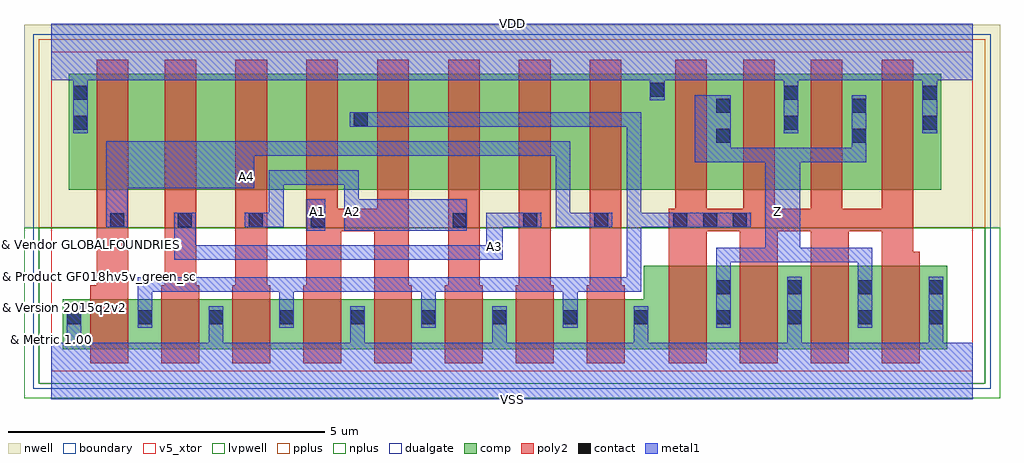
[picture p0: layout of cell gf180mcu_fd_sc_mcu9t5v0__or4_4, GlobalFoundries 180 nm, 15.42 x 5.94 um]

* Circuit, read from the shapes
.subckt gf180mcu_fd_sc_mcu9t5v0__or4_4 A1 A2 A3 A4 VDD VSS Z
XM1 n1 A4 VSS VSUBS nfet_05v0 w=0.79u l=0.6u m=2
XM2 VSS A3 n1 VSUBS nfet_05v0 w=0.79u l=0.6u m=2
XM3 n1 A2 VSS VSUBS nfet_05v0 w=0.79u l=0.6u m=2
XM4 VSS A1 n1 VSUBS nfet_05v0 w=0.79u l=0.6u m=2
XM5 Z n1 VSS VSUBS nfet_05v0 w=1.32u l=0.6u m=4
XM6 n2 A4 VDD n3 pfet_05v0 w=1.83u l=0.5u
XM7 n4 A3 n2 n3 pfet_05v0 w=1.83u l=0.5u
XM8 n5 A2 n4 n3 pfet_05v0 w=1.83u l=0.5u
XM9 n1 A1 n5 n3 pfet_05v0 w=1.83u l=0.5u
XM10 n6 A1 n1 n3 pfet_05v0 w=1.83u l=0.5u
XM11 n7 A2 n6 n3 pfet_05v0 w=1.83u l=0.5u
XM12 n8 A3 n7 n3 pfet_05v0 w=1.83u l=0.5u
XM13 VDD A4 n8 n3 pfet_05v0 w=1.83u l=0.5u
XM14 Z n1 VDD n3 pfet_05v0 w=1.83u l=0.5u m=4
.ends

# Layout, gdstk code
import gdstk
lib = gdstk.Library(unit=1e-6, precision=1e-09)
def R(c, l, rs):  # rectangles x0, y0, x1, y1
    for r in rs: c.add(gdstk.rectangle(r[:2], r[2:], *l))
def A(c, l, x, y, w, h, nx, ny, dx, dy):  # array of equal rectangles
    R(c, l, [(x+i*dx, y+j*dy, x+i*dx+w, y+j*dy+h) for i in range(nx) for j in range(ny)])
def P(c, l, *ps):  # polygons
    for p in ps: c.add(gdstk.Polygon(p, *l))
boundary = (0, 0)
nwell = (21, 0)
comp = (22, 0)
poly2 = (30, 0)
pplus = (31, 0)
nplus = (32, 0)
contact = (33, 0)
metal1 = (34, 0)
dualgate = (55, 0)
v5_xtor = (112, 1)
lvpwell = (204, 0)

gf180mcu_fd_sc_mcu9t5v0_ = lib.new_cell('gf180mcu_fd_sc_mcu9t5v0__or4_4')
R(gf180mcu_fd_sc_mcu9t5v0_, boundary, [(0,0,14.56,5.04)])
R(gf180mcu_fd_sc_mcu9t5v0_, nwell, [(-0.43,2.265,14.99,5.47)])
R(gf180mcu_fd_sc_mcu9t5v0_, comp, [(0.28,2.865,14.06,4.695)])
P(gf180mcu_fd_sc_mcu9t5v0_, comp, [(0.18,0.345),(0.18,1.135),(9.36,1.135),(9.36,1.665),(14.16,1.665),(14.16,0.345)])
P(gf180mcu_fd_sc_mcu9t5v0_, poly2, [(0.62,0.125),(0.62,1.355),(0.72,1.355),(0.72,4.915),(1.22,4.915),(1.22,0.125)],
  [(1.74,0.125),(1.74,1.355),(1.79,1.355),(1.79,4.915),(2.29,4.915),(2.29,1.355),(2.34,1.355),(2.34,0.125)],
  [(2.86,0.125),(2.86,1.355),(2.91,1.355),(2.91,4.915),(3.41,4.915),(3.41,1.355),(3.46,1.355),(3.46,0.125)],
  [(3.98,0.125),(3.98,1.355),(4.03,1.355),(4.03,4.915),(4.53,4.915),(4.53,2.565),(5.15,2.565),(5.15,4.915),(5.65,4.915),(5.65,1.355),(5.7,1.355),(5.7,0.125),(5.1,0.125),(5.1,2.205),(4.58,2.205),(4.58,0.125)],
  [(6.22,0.125),(6.22,1.355),(6.27,1.355),(6.27,4.915),(6.77,4.915),(6.77,1.355),(6.82,1.355),(6.82,0.125)],
  [(7.34,0.125),(7.34,1.355),(7.39,1.355),(7.39,4.915),(7.89,4.915),(7.89,1.355),(7.94,1.355),(7.94,0.125)],
  [(8.46,0.125),(8.46,1.355),(8.51,1.355),(8.51,4.915),(9.01,4.915),(9.01,1.355),(9.06,1.355),(9.06,0.125)],
  [(9.76,0.125),(9.76,2.565),(9.86,2.565),(9.86,4.915),(10.36,4.915),(10.36,2.565),(10.93,2.565),(10.93,4.915),(11.43,4.915),(11.43,2.565),(12,2.565),(12,4.915),(12.5,4.915),(12.5,2.565),(13.12,2.565),(13.12,4.915),(13.62,4.915),(13.62,1.885),(13.72,1.885),(13.72,0.125),(13.12,0.125),(13.12,2.205),(12.6,2.205),(12.6,0.125),(12,0.125),(12,2.205),(11.48,2.205),(11.48,0.125),(10.88,0.125),(10.88,2.205),(10.36,2.205),(10.36,0.125)])
R(gf180mcu_fd_sc_mcu9t5v0_, pplus, [(-0.2,2.265,14.76,5.24)])
R(gf180mcu_fd_sc_mcu9t5v0_, nplus, [(-0.2,-0.2,14.76,2.265)])
A(gf180mcu_fd_sc_mcu9t5v0_, contact, 0.25, 0.74, 0.22, 0.22, 9, 1, 1.12, 0)
A(gf180mcu_fd_sc_mcu9t5v0_, contact, 10.51, 0.74, 0.22, 0.22, 4, 2, 1.12, 0.47)
A(gf180mcu_fd_sc_mcu9t5v0_, contact, 6.34, 2.275, 0.22, 0.22, 3, 1, 1.12, 0)
A(gf180mcu_fd_sc_mcu9t5v0_, contact, 9.83, 2.275, 0.22, 0.22, 3, 1, 0.47, 0)
R(gf180mcu_fd_sc_mcu9t5v0_, contact, [(0.93,2.275,1.15,2.495), (2,2.275,2.22,2.495), (3.12,2.275,3.34,2.495), (4.1,2.275,4.32,2.495), (10.51,3.61,10.73,3.83), (12.65,3.61,12.87,3.83), (0.35,3.815,0.57,4.035), (11.58,3.815,11.8,4.035), (13.77,3.815,13.99,4.035), (4.78,3.865,5,4.085), (10.51,4.08,10.73,4.3), (12.65,4.08,12.87,4.3), (0.35,4.285,0.57,4.505), (11.58,4.285,11.8,4.505), (13.77,4.285,13.99,4.505), (9.465,4.335,9.685,4.555)])
R(gf180mcu_fd_sc_mcu9t5v0_, metal1, [(4.035,2.215,4.33,2.71)])
P(gf180mcu_fd_sc_mcu9t5v0_, metal1, [(4.63,2.215),(4.63,2.94),(3.67,2.94),(3.67,2.27),(3.06,2.27),(3.06,2.5),(3.44,2.5),(3.44,3.17),(4.86,3.17),(4.86,2.71),(6.565,2.71),(6.565,2.215)],
  [(1.94,1.755),(1.94,2.5),(2.28,2.5),(2.28,1.985),(6.87,1.985),(6.87,2.5),(7.74,2.5),(7.74,2.27),(7.13,2.27),(7.13,1.755)],
  [(0.87,2.27),(0.87,3.63),(8.2,3.63),(8.2,2.5),(8.86,2.5),(8.86,2.27),(7.97,2.27),(7.97,3.4),(3.21,3.4),(3.21,2.89),(1.21,2.89),(1.21,2.27)],
  [(1.365,0.68),(1.365,1.48),(9.09,1.48),(9.09,3.86),(4.72,3.86),(4.72,4.09),(9.32,4.09),(9.32,2.5),(11.05,2.5),(11.05,2.27),(9.32,2.27),(9.32,1.25),(8.315,1.25),(8.315,0.68),(8.085,0.68),(8.085,1.25),(6.075,1.25),(6.075,0.68),(5.845,0.68),(5.845,1.25),(3.835,1.25),(3.835,0.68),(3.605,0.68),(3.605,1.25),(1.595,1.25),(1.595,0.68)],
  [(10.505,0.68),(10.505,1.95),(11.28,1.95),(11.28,3.295),(10.17,3.295),(10.17,4.36),(10.735,4.36),(10.735,3.525),(12.645,3.525),(12.645,4.36),(12.875,4.36),(12.875,3.295),(11.835,3.295),(11.835,1.95),(12.975,1.95),(12.975,0.68),(12.745,0.68),(12.745,1.72),(10.735,1.72),(10.735,0.68)],
  [(0,-0.45),(0,0.45),(0.245,0.45),(0.245,1.02),(0.475,1.02),(0.475,0.45),(2.485,0.45),(2.485,1.02),(2.715,1.02),(2.715,0.45),(4.725,0.45),(4.725,1.02),(4.955,1.02),(4.955,0.45),(6.965,0.45),(6.965,1.02),(7.195,1.02),(7.195,0.45),(9.205,0.45),(9.205,1.02),(9.435,1.02),(9.435,0.45),(11.625,0.45),(11.625,1.49),(11.855,1.49),(11.855,0.45),(13.865,0.45),(13.865,1.49),(14.095,1.49),(14.095,0.45),(14.56,0.45),(14.56,-0.45)],
  [(0.345,3.755),(0.345,4.59),(0,4.59),(0,5.49),(14.56,5.49),(14.56,4.59),(13.995,4.59),(13.995,3.755),(13.765,3.755),(13.765,4.59),(11.805,4.59),(11.805,3.755),(11.575,3.755),(11.575,4.59),(9.69,4.59),(9.69,4.275),(9.46,4.275),(9.46,4.59),(0.575,4.59),(0.575,3.755)])
R(gf180mcu_fd_sc_mcu9t5v0_, dualgate, [(-0.28,-0.28,14.84,5.32)])
R(gf180mcu_fd_sc_mcu9t5v0_, v5_xtor, [(0,0,14.56,5.04)])
R(gf180mcu_fd_sc_mcu9t5v0_, lvpwell, [(-0.43,-0.43,14.99,2.265)])
gf180mcu_fd_sc_mcu9t5v0_.add(gdstk.Label('A1', (4.2,2.52), layer=34, texttype=10))
gf180mcu_fd_sc_mcu9t5v0_.add(gdstk.Label('A2', (4.76,2.52), layer=34, texttype=10))
gf180mcu_fd_sc_mcu9t5v0_.add(gdstk.Label('A3', (7,1.96), layer=34, texttype=10))
gf180mcu_fd_sc_mcu9t5v0_.add(gdstk.Label('A4', (3.08,3.08), layer=34, texttype=10))
gf180mcu_fd_sc_mcu9t5v0_.add(gdstk.Label('VDD', (7.28,5.49), layer=34, texttype=10))
gf180mcu_fd_sc_mcu9t5v0_.add(gdstk.Label('VSS', (7.28,-0.45), layer=34, texttype=10))
gf180mcu_fd_sc_mcu9t5v0_.add(gdstk.Label('Z', (11.48,2.52), layer=34, texttype=10))
gf180mcu_fd_sc_mcu9t5v0_.add(gdstk.Label('& Vendor GLOBALFOUNDRIES', (0,2), layer=63, texttype=63))
gf180mcu_fd_sc_mcu9t5v0_.add(gdstk.Label('& Product GF018hv5v_green_sc9', (0,1.5), layer=63, texttype=63))
gf180mcu_fd_sc_mcu9t5v0_.add(gdstk.Label('& Version 2015q2v2', (0,1), layer=63, texttype=63))
gf180mcu_fd_sc_mcu9t5v0_.add(gdstk.Label('& Metric 1.00', (0,0.5), layer=63, texttype=63))

lib.write_gds('gf180mcu_fd_sc_mcu9t5v0__or4_4.gds')
